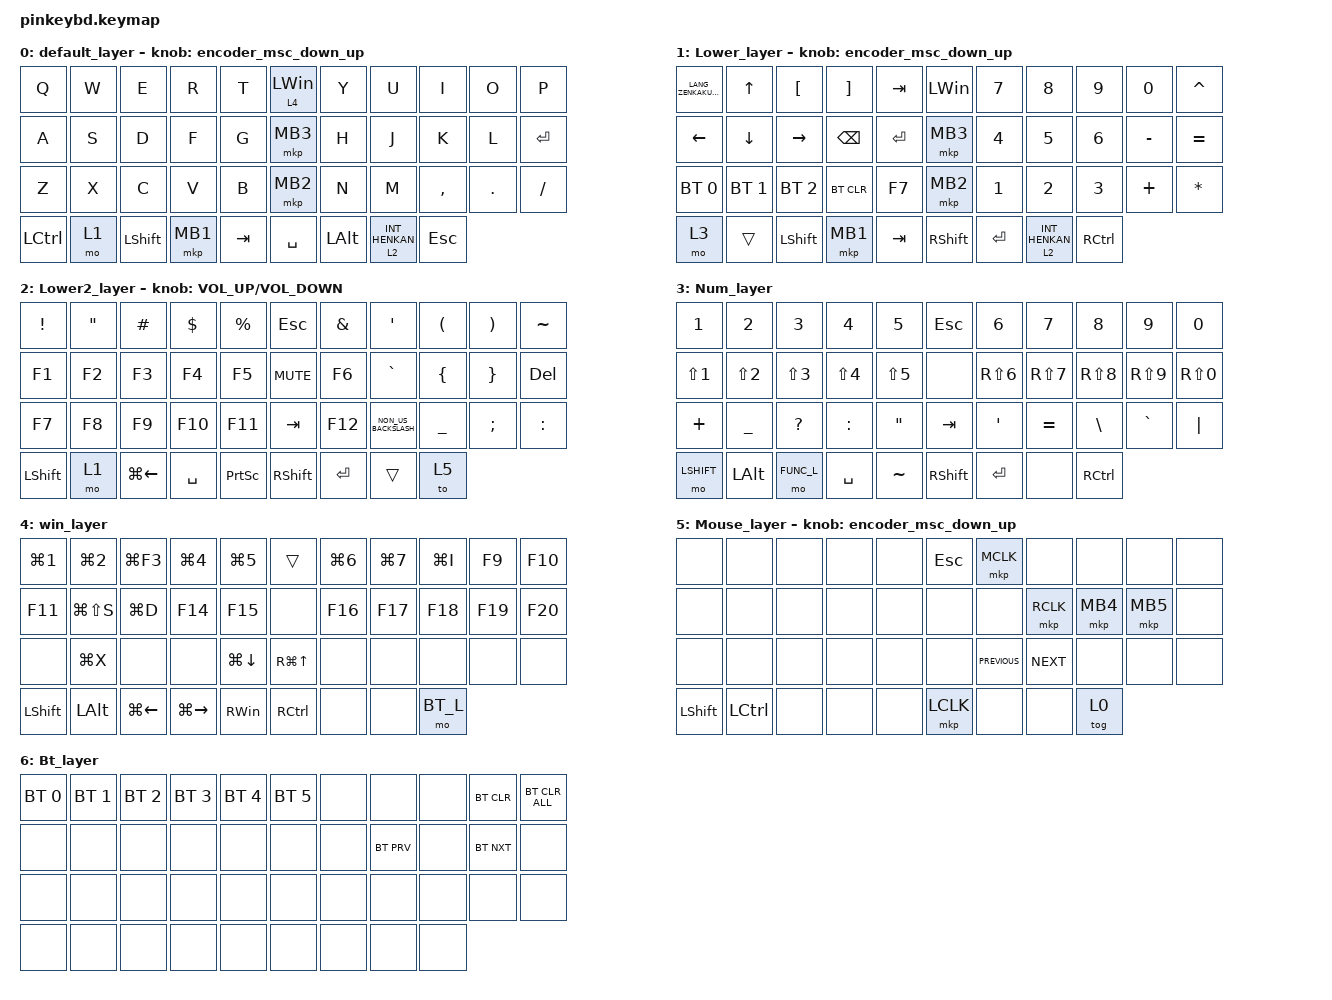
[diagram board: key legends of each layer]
#include "pinkeybd-layer.dtsi"
#include <input/processors.dtsi>
#include <behaviors.dtsi>
#include <dt-bindings/zmk/bt.h>
#include <dt-bindings/zmk/keys.h>
#include <dt-bindings/zmk/pointing.h>
#include "pinkeybd-layouts.dtsi"

#define ZMK_POINTING_DEFAULT_SCRL_VAL 150

&lt { tapping-term-ms = <140>; };

&mkp_input_listener { input-processors = <&zip_temp_layer 5 300>; };

&kscan0 {
    debounce-press-ms = <1>;
    debounce-release-ms = <5>;
};

/ {
    behaviors {
        encoder_msc_down_up: encoder_msc_down_up {
            compatible = "zmk,behavior-sensor-rotate";
            label = "ENCODER_MSC_DOWN_UP";
            #sensor-binding-cells = <0>;
            bindings = <&msc SCRL_DOWN>, <&msc SCRL_UP>;

            tap-ms = <20>;
        };

        my_lt: layer_tap {
            compatible = "zmk,behavior-hold-tap";
            #binding-cells = <2>;
            flavor = "tap-preferred";
            tapping-term-ms = <250>;
            bindings = <&mo>, <&kp>;

            display-name = "Layer-Tap";
        };
    };

    keymap {
        compatible = "zmk,keymap";

        // ---------------------------------------------------------------------------------------------------------------------------------------------------------------------------------------------------------------
        // |        /       |       ,       |       .       |      -        |      ;       |    ESC         |                   |           |       L      |       R       |       D       |       Y       |      P      |
        // |        A       |       O       |       E       |      I        |      U       |    SCROLLLOCK  |                   |           |       G      |       N       |       T       |       S       |      K      |
        // |        X       |       C       |       V       |      W        |      F       |    TAB         |                   |     Q     |       J      |       H       |       M       |       B       |      Z      |
        // |    L_SHIFT     |               |               |    Space      |   LOWER / Jp |    LEFT_WIN    |                   |  R_SHIFT  |      ENTER   |   NUM_L / Ja  |               |               |   RCTRL     |
        // ---------------------------------------------------------------------------------------------------------------------------------------------------------------------------------------------------------------

        default_layer {
            bindings = <
&kp Q      &kp W  &kp E           &kp R     &kp T    &lt 4 LEFT_WIN  &kp Y         &kp U             &kp I       &kp O       &kp P
&kp A      &kp S  &kp D           &kp F     &kp G    &mkp MB3        &kp H         &kp J             &kp K       &kp L       &kp ENTER
&kp Z      &kp X  &kp C           &kp V     &kp B    &mkp MB2        &kp N         &kp M             &kp COMMA   &kp PERIOD  &kp SLASH
&kp LCTRL  &mo 1  &kp LEFT_SHIFT  &mkp MB1  &kp TAB  &kp SPACE       &kp LEFT_ALT  &lt 2 INT_HENKAN  &kp ESCAPE
            >;

            sensor-bindings = <&encoder_msc_down_up>;
        };

        // ---------------------------------------------------------------------------------------------------------------------------------------------------------------------------------------------------------------
        // |    /           |       <       |       >       |       _       |      ”        |    PAUSE_BREAK|                  |            |      （       |       ）     |        ↑      |        [      |    ]        |
        // |    LC(A)       |       LC(S)   |       END     |       LS(F)   |       U       |    SCROLLLOCK |                  |            |   Backspace   |       ←      |        ↓      |        →      |    DEL      |
        // |    UNDERSCORE  |       CUT     |       COPY    |       PASTE   |       LALT    |    TAB        |                  |   PSCRN    |    ' / "      |    = / +     |    \ / |      |    ` / ~      |    PIPE     |
        // |    L_SHIFT     |               |               |       LALT    |       none    |    SPACE      |                  |   RSHIFT   |   ENTER       |    LOWER2    |               |               |    RCTRL    |
        // ---------------------------------------------------------------------------------------------------------------------------------------------------------------------------------------------------------------

        Lower_layer {
            bindings = <
&kp LANG_ZENKAKUHANKAKU  &kp UP        &kp LEFT_BRACKET  &kp RIGHT_BRACKET  &kp TAB    &kp LEFT_WIN  &kp N7        &kp N8            &kp N9        &kp N0     &kp CARET
&kp LEFT                 &kp DOWN      &kp RIGHT         &kp BACKSPACE      &kp ENTER  &mkp MB3      &kp NUMBER_4  &kp N5            &kp NUMBER_6  &kp MINUS  &kp EQUAL
&bt BT_SEL 0             &bt BT_SEL 1  &bt BT_SEL 2      &bt BT_CLR         &kp F7     &mkp MB2      &kp NUMBER_1  &kp NUMBER_2      &kp NUMBER_3  &kp PLUS   &kp ASTERISK
&mo 3                    &trans        &kp LEFT_SHIFT    &mkp MB1           &kp TAB    &kp RSHIFT    &kp ENTER     &lt 2 INT_HENKAN  &kp RCTRL
            >;

            sensor-bindings = <&encoder_msc_down_up>;
        };

        // --------------------------------------------------------------------------------------------------------------------------------------------------------------------------------------------------------------
        // |    /           |       ,        |       END     |      C_VOL_UP    |       ’      |    ESC        |                  |            |      {      |      }         |    PG_UP      |     {       |      }    |
        // |    HOME        |       C_SAVE   |       END     |      C_VOL_DN    |   C_MUTE     |    SCROLLLOCK |                  |            |  Backspace  |    HOME        |    PG_DN      |    END      |   DEL     |
        // |    UNDO        |       CUT      |       COPY    |      WIN_PASTE   |       Q      |    TAB        |                  |   PSCRN    |    ' / "    |    = / +       |    \ / |      |    ` / ~    |   INS     |
        // |    L_SHIFT     |                |               |      LCTRL       |       none   |    SPACE      |                  |   ENTER    |    none     |   R_SHIFT      |               |             |   RCTRL   |
        // --------------------------------------------------------------------------------------------------------------------------------------------------------------------------------------------------------------

        Lower2_layer {
            bindings = <
&kp EXCLAMATION  &kp DOUBLE_QUOTES  &kp HASH      &kp DOLLAR  &kp PERCENT  &kp ESC     &kp AMPERSAND  &kp SQT               &kp LEFT_PARENTHESIS  &kp RIGHT_PARENTHESIS  &kp TILDE
&kp F1           &kp F2             &kp F3        &kp F4      &kp F5       &kp K_MUTE  &kp F6         &kp GRAVE             &kp LEFT_BRACE        &kp RIGHT_BRACE        &kp DEL
&kp F7           &kp F8             &kp F9        &kp F10     &kp F11      &kp TAB     &kp F12        &kp NON_US_BACKSLASH  &kp UNDERSCORE        &kp SEMICOLON          &kp COLON
&kp LSHIFT       &mo 1              &kp LG(LEFT)  &kp SPACE   &kp PSCRN    &kp RSHIFT  &kp ENTER      &trans                &to 5
            >;

            sensor-bindings = <&inc_dec_kp C_VOLUME_UP C_VOLUME_DOWN>;
        };

        // --------------------------------------------------------------------------------------------------------------------------------------------------------------------------------------------------------------
        // |        1       |      2        |       3       |       4       |       5       |    ESC        |               |            |      6       |      7        |       8       |       9       |       0       |
        // |        !       |      @        |       #       |       $       |       %       |    none       |               |            |      ^       |      &        |       *       |       (       |       )       | 
        // |    PLUS        |   UNDERSCORE  |   QUESTION    |    COLON      |       DQT     |    TAB        |               |   TILDE    |    ' / "     |    = / +      |    \ / |      |    ` / ~      |       PIPE    |
        // |    L_SHIFT     |               |               |    LALT       |   Func_layer  |    SPACE      |               |   R_SHIFT  |      ENTER   |     none      |               |               |       RCTRL   |
        // --------------------------------------------------------------------------------------------------------------------------------------------------------------------------------------------------------------

        Num_layer {
            bindings = <
&kp N1      &kp N2      &kp N3      &kp N4      &kp N5      &kp ESC     &kp N6      &kp N7      &kp N8      &kp N9      &kp N0
&kp LS(N1)  &kp LS(N2)  &kp LS(N3)  &kp LS(N4)  &kp LS(N5)  &none       &kp RS(N6)  &kp RS(N7)  &kp RS(N8)  &kp RS(N9)  &kp RS(N0)
&kp PLUS    &kp UNDER   &kp QMARK   &kp COLON   &kp DQT     &kp TAB     &kp APOS    &kp EQUAL   &kp BSLH    &kp GRAVE   &kp PIPE
&mo LSHIFT  &kp LALT    &mo FUNC_L  &kp SPACE   &kp TILDE   &kp RSHIFT  &kp ENTER   &none       &kp RCTRL
            >;
        };

        // ------------------------------------------------------------------------------------------------------------------------------------------------------------------------------------
        // |     F1      |     F2     |     F3     |     F4     |    F5      |    C_VOL_UP  |                |            |    F6      |    F7      |    F8      |    F9       |     F10      |
        // |     F11     |     F12    |     F13    |     F14    |    F15     |    none      |                |            |    F16     |    F17     |    F18     |    F19      |     F20      |
        // |     none    |    none    |    none    |    none    |   none     |    C_VOL_DN  |                | RIGHT_WIN  |    none    |    none    |    none    |    none     |     none     |
        // |     L_SHIFT |            |            |    LALT    |   none     |    none      |                |   RCTRL    |    none    |    none    |            |             |  Bt_layer    |
        // ------------------------------------------------------------------------------------------------------------------------------------------------------------------------------------

        win_layer {
            bindings = <
&kp LG(NUMBER_1)  &kp LG(NUMBER_2)  &kp LG(F3)    &kp LG(NUMBER_4)  &kp LG(N5)          &trans            &kp LG(NUMBER_6)  &kp LG(N7)  &kp LG(I)  &kp F9   &kp F10
&kp F11           &kp LG(LS(S))     &kp LG(D)     &kp F14           &kp F15             &none             &kp F16           &kp F17     &kp F18    &kp F19  &kp F20
&none             &kp LG(X)         &none         &none             &kp LG(DOWN_ARROW)  &kp RG(UP_ARROW)  &none             &none       &none      &none    &none
&kp LSHIFT        &kp LALT          &kp LG(LEFT)  &kp LG(RIGHT)     &kp RIGHT_WIN       &kp RCTRL         &none             &none       &mo BT_L
            >;
        };

        // --------------------------------------------------------------------------------------------------------------------------------------------------------------------------------
        // |    none    |    none    |    none    |    none    |   none     |    ESC     |                  |            |    MCLK    |    none    |    none    |   none     |    none    |
        // |    none    |    none    |    none    |    none    |   none     |    none    |                  |            |    none    |    RCLK    |    MB4     |   MB5      |    none    |
        // |    none    |    none    |    none    |    none    |   none     |    none    |                  | C_PREVIOUS |    C_NEXT  |    none    |    none    |   none     |    none    |
        // |    L_SHIFT |            |            |    none    |   none     |    none    |                  |    LCLK    |    none    |    none    |            |            |    RCTRL   |
        // --------------------------------------------------------------------------------------------------------------------------------------------------------------------------------

        Mouse_layer {
            bindings = <
&none       &none      &none  &none  &none  &kp ESC    &mkp MCLK       &none       &none     &none     &none
&none       &none      &none  &none  &none  &none      &none           &mkp RCLK   &mkp MB4  &mkp MB5  &none
&none       &none      &none  &none  &none  &none      &kp C_PREVIOUS  &kp C_NEXT  &none     &none     &none
&kp LSHIFT  &kp LCTRL  &none  &none  &none  &mkp LCLK  &none           &none       &tog 0
            >;

            sensor-bindings = <&encoder_msc_down_up>;
        };

        // --------------------------------------------------------------------------------------------------------------------------------------------------------------------------------
        // |  BT_SEL 0  |  BT_SEL 1  |  BT_SEL 2  |  BT_SEL 3  |            |            |                  |            |    none    |    none    |    none    |   BT_CLR   | BT_CLR_ALL |
        // |    none    |    none    |    none    |    none    |   none     |    none    |                  |    none    |    none    |   BT_PRV   |    none    |   BT_NXT   |    none    |
        // |    none    |    none    |    none    |    none    |   none     |    none    |                  |    none    |    none    |    none    |    none    |   none     |    none    |
        // |    none    |            |            |    none    |   none     |    none    |                  |    none    |    none    |    none    |            |            |    none    |
        // --------------------------------------------------------------------------------------------------------------------------------------------------------------------------------

        Bt_layer {
            bindings = <
&bt BT_SEL 0  &bt BT_SEL 1  &bt BT_SEL 2  &bt BT_SEL 3  &bt BT_SEL 4  &bt BT_SEL 5  &none  &none       &none  &bt BT_CLR  &bt BT_CLR_ALL
&none         &none         &none         &none         &none         &none         &none  &bt BT_PRV  &none  &bt BT_NXT  &none
&none         &none         &none         &none         &none         &none         &none  &none       &none  &none       &none
&none         &none         &none         &none         &none         &none         &none  &none       &none
            >;
        };
    };
};
